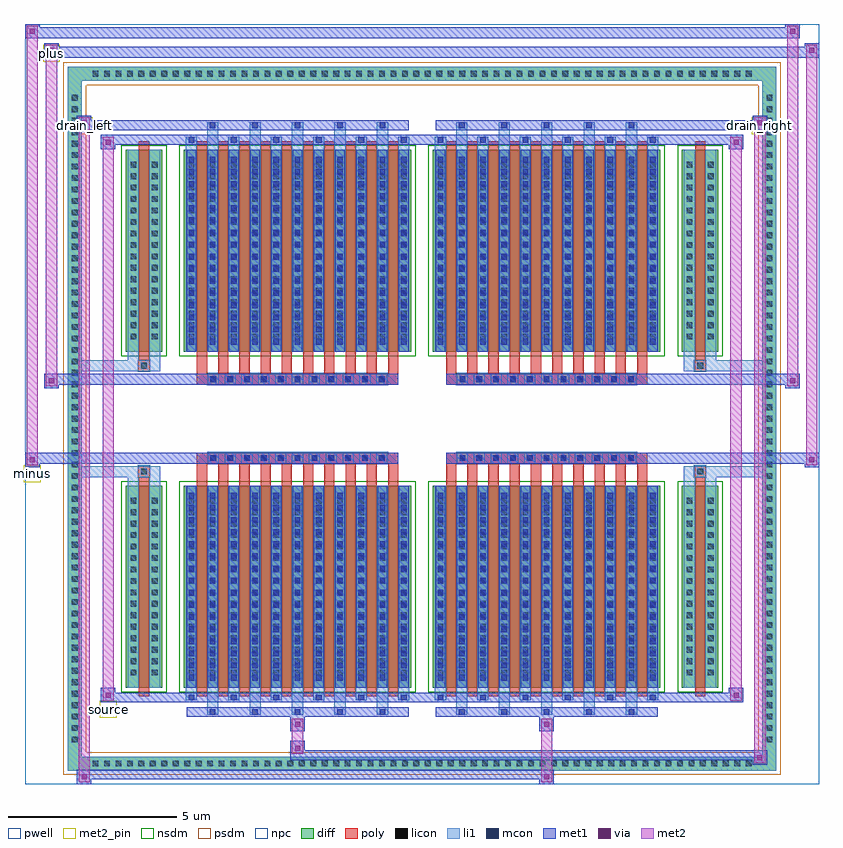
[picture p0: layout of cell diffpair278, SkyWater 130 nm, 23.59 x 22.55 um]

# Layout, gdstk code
import gdstk
lib = gdstk.Library(unit=1e-6, precision=5e-09)
def R(c, l, rs):  # rectangles x0, y0, x1, y1
    for r in rs: c.add(gdstk.rectangle(r[:2], r[2:], *l))
def A(c, l, x, y, w, h, nx, ny, dx, dy):  # array of equal rectangles
    R(c, l, [(x+i*dx, y+j*dy, x+i*dx+w, y+j*dy+h) for i in range(nx) for j in range(ny)])
def P(c, l, *ps):  # polygons
    for p in ps: c.add(gdstk.Polygon(p, *l))
pwell = (64, 44)
diff = (65, 20)
poly = (66, 20)
licon = (66, 44)
li1 = (67, 20)
mcon = (67, 44)
met1 = (68, 20)
via = (68, 44)
met2_pin = (69, 16)
met2 = (69, 20)
nsdm = (93, 44)
psdm = (94, 20)
npc = (95, 20)

diffpair278 = lib.new_cell('diffpair278')
R(diffpair278, pwell, [(-11.78,-10.84,11.78,11.71), (-9.1,-9.03,-0.01,-0.805), (0.01,-9.03,9.1,-0.805), (-9.1,0.805,-0.01,9.03), (0.01,0.805,9.1,9.03)])
A(diffpair278, diff, -9.895, -10.44, 0.41, 0.41, 58, 2, 0.34, 20.47)
A(diffpair278, diff, -10.51, -9.725, 0.41, 0.41, 1, 57, 0, 0.34)
A(diffpair278, diff, 10.1, -9.725, 0.41, 0.41, 1, 57, 0, 0.34)
R(diffpair278, diff, [(-9.895,-10.44,9.895,-10.03), (-10.51,-9.725,-10.1,9.725), (10.1,-9.725,10.51,9.725), (-8.79,-7.985,-7.71,-1.985), (-7.07,-7.985,-0.32,-1.985), (0.32,-7.985,7.07,-1.985), (7.71,-7.985,8.79,-1.985), (-8.79,1.985,-7.71,7.985), (-7.07,1.985,-0.32,7.985), (0.32,1.985,7.07,7.985), (7.71,1.985,8.79,7.985), (-9.895,10.03,9.895,10.44)])
P(diffpair278, diff, [(10.51,10.44),(-10.51,10.44),(-10.51,-10.03),(-10.1,-10.03),(-10.1,10.03),(10.1,10.03),(10.1,-10.03),(-10.1,-10.03),(-10.51,-10.03),(-10.51,-10.44),(10.51,-10.44)])
A(diffpair278, poly, -6.68, -8.235, 0.3, 6.5, 10, 2, 0.63, 9.97)
A(diffpair278, poly, 0.71, -8.235, 0.3, 6.5, 10, 2, 0.63, 9.97)
A(diffpair278, poly, -6.68, -1.735, 0.3, 0.4, 10, 2, 0.63, 3.07)
A(diffpair278, poly, 0.71, -1.735, 0.3, 0.4, 10, 2, 0.63, 3.07)
A(diffpair278, poly, -6.36, -1.335, 0.33, 0.33, 11, 2, 0.5, 2.34)
A(diffpair278, poly, 1.03, -1.335, 0.33, 0.33, 11, 2, 0.5, 2.34)
R(diffpair278, poly, [(-8.4,-8.235,-8.1,-1.735), (8.1,-8.235,8.4,-1.735), (-8.415,-1.735,-8.085,-1.405), (-8.415,-1.735,-8.085,-1.405), (8.085,-1.735,8.415,-1.405), (8.085,-1.735,8.415,-1.405), (-6.68,-1.335,-0.71,-1.005), (0.71,-1.335,6.68,-1.005), (-6.68,1.005,-0.71,1.335), (0.71,1.005,6.68,1.335), (-8.415,1.405,-8.085,1.735), (-8.415,1.405,-8.085,1.735), (8.085,1.405,8.415,1.735), (8.085,1.405,8.415,1.735), (-8.4,1.735,-8.1,8.235), (8.1,1.735,8.4,8.235)])
A(diffpair278, licon, -9.775, -10.32, 0.17, 0.17, 58, 2, 0.34, 20.47)
A(diffpair278, licon, -10.39, -9.605, 0.17, 0.17, 1, 57, 0, 0.34)
A(diffpair278, licon, 10.22, -9.605, 0.17, 0.17, 1, 57, 0, 0.34)
A(diffpair278, licon, -8.65, -7.62, 0.17, 0.17, 1, 16, 0, 0.34)
A(diffpair278, licon, -8.02, -7.62, 0.17, 0.17, 1, 16, 0, 0.34)
A(diffpair278, licon, -6.93, -7.62, 0.17, 0.17, 11, 16, 0.63, 0.34)
A(diffpair278, licon, 0.46, -7.62, 0.17, 0.17, 11, 16, 0.63, 0.34)
A(diffpair278, licon, 7.85, -7.62, 0.17, 0.17, 1, 16, 0, 0.34)
A(diffpair278, licon, 8.48, -7.62, 0.17, 0.17, 1, 16, 0, 0.34)
A(diffpair278, licon, -6.28, -1.255, 0.17, 0.17, 11, 2, 0.5, 2.34)
A(diffpair278, licon, 1.11, -1.255, 0.17, 0.17, 11, 2, 0.5, 2.34)
A(diffpair278, licon, -8.65, 2.35, 0.17, 0.17, 1, 16, 0, 0.34)
A(diffpair278, licon, -8.02, 2.35, 0.17, 0.17, 1, 16, 0, 0.34)
A(diffpair278, licon, -6.93, 2.35, 0.17, 0.17, 11, 16, 0.63, 0.34)
A(diffpair278, licon, 0.46, 2.35, 0.17, 0.17, 11, 16, 0.63, 0.34)
A(diffpair278, licon, 7.85, 2.35, 0.17, 0.17, 1, 16, 0, 0.34)
A(diffpair278, licon, 8.48, 2.35, 0.17, 0.17, 1, 16, 0, 0.34)
R(diffpair278, licon, [(-8.335,-1.655,-8.165,-1.485), (8.165,-1.655,8.335,-1.485), (-8.335,1.485,-8.165,1.655), (8.165,1.485,8.335,1.655)])
A(diffpair278, li1, -9.855, -10.4, 0.33, 0.33, 58, 2, 0.34, 20.47)
A(diffpair278, li1, -10.47, -9.685, 0.33, 0.33, 1, 57, 0, 0.34)
A(diffpair278, li1, 10.14, -9.685, 0.33, 0.33, 1, 57, 0, 0.34)
A(diffpair278, li1, -6.38, -8.79, 0.33, 0.805, 5, 2, 1.26, 16.775)
A(diffpair278, li1, -6.3, -8.79, 0.17, 0.17, 5, 2, 1.26, 17.41)
A(diffpair278, li1, 1.01, -8.79, 0.33, 0.805, 5, 2, 1.26, 16.775)
A(diffpair278, li1, 1.09, -8.79, 0.17, 0.17, 5, 2, 1.26, 17.41)
A(diffpair278, li1, -7.01, -8.36, 0.33, 0.375, 6, 2, 1.26, 16.345)
A(diffpair278, li1, -6.93, -8.36, 0.17, 0.17, 6, 2, 1.26, 16.55)
A(diffpair278, li1, 0.38, -8.36, 0.33, 0.375, 6, 2, 1.26, 16.345)
A(diffpair278, li1, 0.46, -8.36, 0.17, 0.17, 6, 2, 1.26, 16.55)
A(diffpair278, li1, -7.01, -7.985, 0.33, 6, 11, 2, 0.63, 9.97)
A(diffpair278, li1, 0.38, -7.985, 0.33, 6, 11, 2, 0.63, 9.97)
A(diffpair278, li1, -6.93, -7.77, 0.17, 0.17, 11, 16, 0.63, 0.36)
A(diffpair278, li1, -6.93, -7.77, 0.17, 5.57, 11, 2, 0.63, 9.97)
A(diffpair278, li1, 0.46, -7.77, 0.17, 0.17, 11, 16, 0.63, 0.36)
A(diffpair278, li1, 0.46, -7.77, 0.17, 5.57, 11, 2, 0.63, 9.97)
A(diffpair278, li1, -8.73, -7.7, 0.33, 0.33, 1, 16, 0, 0.34)
A(diffpair278, li1, -8.1, -7.7, 0.33, 0.33, 1, 16, 0, 0.34)
A(diffpair278, li1, -7.01, -7.7, 0.33, 0.33, 11, 16, 0.63, 0.34)
A(diffpair278, li1, 0.38, -7.7, 0.33, 0.33, 11, 16, 0.63, 0.34)
A(diffpair278, li1, 7.77, -7.7, 0.33, 0.33, 1, 16, 0, 0.34)
A(diffpair278, li1, 8.4, -7.7, 0.33, 0.33, 1, 16, 0, 0.34)
A(diffpair278, li1, -6.36, -1.335, 0.33, 0.33, 11, 2, 0.5, 2.34)
A(diffpair278, li1, 1.03, -1.335, 0.33, 0.33, 11, 2, 0.5, 2.34)
A(diffpair278, li1, -6.93, 2.2, 0.17, 0.17, 11, 16, 0.63, 0.36)
A(diffpair278, li1, 0.46, 2.2, 0.17, 0.17, 11, 16, 0.63, 0.36)
A(diffpair278, li1, -8.73, 2.27, 0.33, 0.33, 1, 16, 0, 0.34)
A(diffpair278, li1, -8.1, 2.27, 0.33, 0.33, 1, 16, 0, 0.34)
A(diffpair278, li1, -7.01, 2.27, 0.33, 0.33, 11, 16, 0.63, 0.34)
A(diffpair278, li1, 0.38, 2.27, 0.33, 0.33, 11, 16, 0.63, 0.34)
A(diffpair278, li1, 7.77, 2.27, 0.33, 0.33, 1, 16, 0, 0.34)
A(diffpair278, li1, 8.4, 2.27, 0.33, 0.33, 1, 16, 0, 0.34)
R(diffpair278, li1, [(-10.51,-10.44,-10.1,-10.03), (-10.51,-10.44,-10.1,-10.03), (-10.1,-10.44,10.1,-10.03), (10.1,-10.44,10.51,-10.03), (10.1,-10.44,10.51,-10.03), (-10.51,-10.03,-10.1,10.03), (10.1,-10.03,10.51,10.03), (-8.73,-7.985,-8.4,-1.985), (-8.1,-7.985,-7.77,-1.985), (7.77,-7.985,8.1,-1.985), (8.4,-7.985,8.73,-1.985), (-8.73,-1.985,-8.4,-1.405), (-8.1,-1.985,-7.77,-1.405), (7.77,-1.985,8.1,-1.405), (8.4,-1.985,8.73,-1.405), (-10.51,-1.735,-8.415,-1.405), (-8.73,-1.735,-8.415,-1.405), (-8.415,-1.735,-8.085,-1.405), (-8.085,-1.735,-7.77,-1.405), (7.77,-1.735,8.085,-1.405), (8.085,-1.735,8.415,-1.405), (8.085,-1.735,10.51,-1.405), (8.415,-1.735,8.73,-1.405), (-10.51,1.405,-8.415,1.735), (-8.73,1.405,-8.415,1.735), (-8.73,1.405,-8.4,1.985), (-8.415,1.405,-8.085,1.735), (-8.1,1.405,-7.77,1.985), (-8.085,1.405,-7.77,1.735), (7.77,1.405,8.085,1.735), (7.77,1.405,8.1,1.985), (8.085,1.405,8.415,1.735), (8.085,1.405,10.51,1.735), (8.4,1.405,8.73,1.985), (8.415,1.405,8.73,1.735), (-8.73,1.985,-8.4,7.985), (-8.1,1.985,-7.77,7.985), (7.77,1.985,8.1,7.985), (8.4,1.985,8.73,7.985), (-10.51,10.03,-10.1,10.44), (-10.51,10.03,-10.1,10.44), (-10.1,10.03,10.1,10.44), (10.1,10.03,10.51,10.44), (10.1,10.03,10.51,10.44)])
A(diffpair278, mcon, -6.3, -8.79, 0.17, 0.17, 5, 2, 1.26, 17.41)
A(diffpair278, mcon, 1.09, -8.79, 0.17, 0.17, 5, 2, 1.26, 17.41)
A(diffpair278, mcon, -6.93, -8.36, 0.17, 0.17, 6, 2, 1.26, 16.55)
A(diffpair278, mcon, 0.46, -8.36, 0.17, 0.17, 6, 2, 1.26, 16.55)
A(diffpair278, mcon, -6.93, -7.77, 0.17, 0.17, 11, 16, 0.63, 0.36)
A(diffpair278, mcon, 0.46, -7.77, 0.17, 0.17, 11, 16, 0.63, 0.36)
A(diffpair278, mcon, -6.28, -1.255, 0.17, 0.17, 11, 2, 0.5, 2.34)
A(diffpair278, mcon, 1.11, -1.255, 0.17, 0.17, 11, 2, 0.5, 2.34)
A(diffpair278, mcon, -6.93, 2.2, 0.17, 0.17, 11, 16, 0.63, 0.36)
A(diffpair278, mcon, 0.46, 2.2, 0.17, 0.17, 11, 16, 0.63, 0.36)
A(diffpair278, met1, -6.36, -8.85, 0.29, 0.29, 5, 2, 1.26, 17.41)
A(diffpair278, met1, 1.03, -8.85, 0.29, 0.29, 5, 2, 1.26, 17.41)
A(diffpair278, met1, -6.99, -8.42, 0.29, 0.29, 6, 2, 1.26, 16.55)
A(diffpair278, met1, 0.4, -8.42, 0.29, 0.29, 6, 2, 1.26, 16.55)
A(diffpair278, met1, -6.99, -7.985, 0.29, 6, 11, 2, 0.63, 9.97)
A(diffpair278, met1, 0.4, -7.985, 0.29, 6, 11, 2, 0.63, 9.97)
A(diffpair278, met1, -6.99, -7.83, 0.29, 0.29, 11, 16, 0.63, 0.36)
A(diffpair278, met1, 0.4, -7.83, 0.29, 0.29, 11, 16, 0.63, 0.36)
A(diffpair278, met1, -6.34, -1.315, 0.29, 0.29, 11, 2, 0.5, 2.34)
A(diffpair278, met1, 1.05, -1.315, 0.29, 0.29, 11, 2, 0.5, 2.34)
A(diffpair278, met1, -6.99, 2.14, 0.29, 0.29, 11, 16, 0.63, 0.36)
A(diffpair278, met1, 0.4, 2.14, 0.29, 0.29, 11, 16, 0.63, 0.36)
R(diffpair278, met1, [(-10.24,-10.84,-9.81,-10.41), (3.48,-10.84,3.91,-10.41), (-10.24,-10.7,3.91,-10.41), (9.81,-10.27,10.24,-9.84), (-3.91,-10.13,10.24,-9.84), (-3.91,-9.99,-3.48,-9.56), (-3.91,-9.28,-3.48,-8.85), (3.48,-9.28,3.91,-8.85), (-6.99,-8.85,-0.4,-8.56), (0.4,-8.85,6.99,-8.56), (-9.53,-8.42,-9.1,-7.99), (-9.53,-8.42,-6.99,-8.13), (-6.99,-8.42,-0.4,-8.13), (-0.4,-8.42,0.4,-8.13), (0.4,-8.42,6.99,-8.13), (6.99,-8.42,9.53,-8.13), (9.1,-8.42,9.53,-7.99), (-11.78,-1.435,-11.35,-1.005), (11.35,-1.435,11.78,-1.005), (-11.78,-1.335,-0.71,-1.005), (-6.68,-1.335,-0.71,-1.005), (0.71,-1.335,6.68,-1.005), (0.71,-1.335,11.78,-1.005), (-11.21,0.905,-10.78,1.335), (10.78,0.905,11.21,1.335), (-11.21,1.005,-6.68,1.335), (-6.68,1.005,-0.71,1.335), (0.71,1.005,6.68,1.335), (6.68,1.005,11.21,1.335), (-9.53,7.99,-9.1,8.42), (9.1,7.99,9.53,8.42), (-9.53,8.13,-6.99,8.42), (-6.99,8.13,-0.4,8.42), (-0.4,8.13,0.4,8.42), (0.4,8.13,6.99,8.42), (6.99,8.13,9.53,8.42), (-10.24,8.56,-9.81,8.99), (-10.24,8.56,-6.99,8.85), (-6.99,8.56,-0.4,8.85), (0.4,8.56,6.99,8.85), (6.99,8.56,10.24,8.85), (9.81,8.56,10.24,8.99), (-11.21,10.71,-10.78,11.14), (-11.21,10.71,-9.1,11.04), (-9.1,10.71,9.1,11.04), (9.1,10.71,11.78,11.04), (11.35,10.71,11.78,11.14), (-11.78,11.28,-11.35,11.71), (-11.78,11.28,-9.1,11.61), (-9.1,11.28,9.1,11.61), (9.1,11.28,11.21,11.61), (10.78,11.28,11.21,11.71)])
R(diffpair278, via, [(-10.1,-10.7,-9.95,-10.55), (3.62,-10.7,3.77,-10.55), (9.95,-10.13,10.1,-9.98), (-3.77,-9.85,-3.62,-9.7), (-3.77,-9.14,-3.62,-8.99), (3.62,-9.14,3.77,-8.99), (-9.39,-8.28,-9.24,-8.13), (9.24,-8.28,9.39,-8.13), (-11.64,-1.295,-11.49,-1.145), (11.49,-1.295,11.64,-1.145), (-11.07,1.045,-10.92,1.195), (10.92,1.045,11.07,1.195), (-9.39,8.13,-9.24,8.28), (9.24,8.13,9.39,8.28), (-10.1,8.7,-9.95,8.85), (9.95,8.7,10.1,8.85), (-11.07,10.85,-10.92,11), (11.49,10.85,11.64,11), (-11.64,11.42,-11.49,11.57), (10.92,11.42,11.07,11.57)])
R(diffpair278, met2_pin, [(-9.565,-8.87,-9.065,-8.37), (-11.815,-1.885,-11.315,-1.385), (-10.275,8.44,-9.775,8.94), (9.775,8.44,10.275,8.94), (-11.245,10.59,-10.745,11.09)])
R(diffpair278, met2, [(-10.19,-10.79,-9.86,-10.46), (-10.19,-10.79,-9.86,8.94), (3.53,-10.79,3.86,-10.46), (3.53,-10.46,3.86,-9.23), (9.86,-10.22,10.19,-9.89), (9.86,-10.22,10.19,8.94), (-3.86,-9.94,-3.53,-9.61), (-3.86,-9.61,-3.53,-9.23), (-3.86,-9.23,-3.53,-8.9), (3.53,-9.23,3.86,-8.9), (-9.48,-8.37,-9.15,-8.04), (-9.48,-8.37,-9.15,8.37), (9.15,-8.37,9.48,-8.04), (9.15,-8.37,9.48,8.37), (-11.73,-1.385,-11.4,-1.055), (-11.73,-1.385,-11.4,11.66), (11.4,-1.385,11.73,-1.055), (11.4,-1.385,11.73,11.09), (-11.16,0.955,-10.83,1.285), (-11.16,0.955,-10.83,11.09), (10.83,0.955,11.16,1.285), (10.83,0.955,11.16,11.66), (-9.48,8.04,-9.15,8.37), (9.15,8.04,9.48,8.37), (-10.19,8.61,-9.86,8.94), (9.86,8.61,10.19,8.94), (-11.16,10.76,-10.83,11.09), (11.4,10.76,11.73,11.09), (-11.73,11.33,-11.4,11.66), (10.83,11.33,11.16,11.66)])
P(diffpair278, met2, [(11.73,-1.385),(11.73,-1.385),(11.73,-1.055),(11.73,-1.055)],
  [(11.73,10.76),(11.73,10.76),(11.73,11.09),(11.73,11.09)],
  [(-11.4,-1.385),(-11.4,-1.385),(-11.4,-1.055),(-11.4,-1.055)],
  [(-11.4,11.33),(-11.4,11.33),(-11.4,11.66),(-11.4,11.66)],
  [(11.16,0.955),(11.16,0.955),(11.16,1.285),(11.16,1.285)],
  [(11.16,11.33),(11.16,11.33),(11.16,11.66),(11.16,11.66)],
  [(-10.83,0.955),(-10.83,0.955),(-10.83,1.285),(-10.83,1.285)],
  [(-10.83,10.76),(-10.83,10.76),(-10.83,11.09),(-10.83,11.09)],
  [(-9.86,-10.79),(-9.86,-10.79),(-9.86,-10.46),(-9.86,-10.46)],
  [(-9.86,8.61),(-9.86,8.61),(-9.86,8.94),(-9.86,8.94)],
  [(10.19,-10.22),(10.19,-10.22),(10.19,-9.89),(10.19,-9.89)],
  [(10.19,8.61),(10.19,8.61),(10.19,8.94),(10.19,8.94)],
  [(-9.15,-8.37),(-9.15,-8.37),(-9.15,-8.04),(-9.15,-8.04)],
  [(-9.15,8.04),(-9.15,8.04),(-9.15,8.37),(-9.15,8.37)],
  [(9.48,-8.37),(9.48,-8.37),(9.48,-8.04),(9.48,-8.04)],
  [(9.48,8.04),(9.48,8.04),(9.48,8.37),(9.48,8.37)])
R(diffpair278, nsdm, [(-8.92,-8.115,-7.58,-1.855), (-7.2,-8.115,-0.19,-1.855), (0.19,-8.115,7.2,-1.855), (7.58,-8.115,8.92,-1.855), (-8.92,1.855,-7.58,8.115), (-7.2,1.855,-0.19,8.115), (0.19,1.855,7.2,8.115), (7.58,1.855,8.92,8.115)])
P(diffpair278, psdm, [(10.64,10.57),(-10.64,10.57),(-10.64,-9.9),(-9.97,-9.9),(-9.97,9.9),(9.97,9.9),(9.97,-9.9),(-9.97,-9.9),(-10.64,-9.9),(-10.64,-10.57),(10.64,-10.57)])
A(diffpair278, npc, -6.38, -1.355, 0.37, 0.37, 11, 2, 0.5, 2.34)
A(diffpair278, npc, 1.01, -1.355, 0.37, 0.37, 11, 2, 0.5, 2.34)
R(diffpair278, npc, [(-8.435,-1.755,-8.065,-1.385), (8.065,-1.755,8.435,-1.385), (-6.38,-1.355,-5.51,-0.985), (-6.38,-1.355,-5.51,-0.985), (-5.88,-1.355,-5.01,-0.985), (-5.88,-1.355,-5.01,-0.985), (-5.38,-1.355,-4.51,-0.985), (-5.38,-1.355,-4.51,-0.985), (-4.88,-1.355,-4.01,-0.985), (-4.88,-1.355,-4.01,-0.985), (-4.38,-1.355,-3.51,-0.985), (-4.38,-1.355,-3.51,-0.985), (-3.88,-1.355,-3.01,-0.985), (-3.88,-1.355,-3.01,-0.985), (-3.38,-1.355,-2.51,-0.985), (-3.38,-1.355,-2.51,-0.985), (-2.88,-1.355,-2.01,-0.985), (-2.88,-1.355,-2.01,-0.985), (-2.38,-1.355,-1.51,-0.985), (-2.38,-1.355,-1.51,-0.985), (-1.88,-1.355,-1.01,-0.985), (-1.88,-1.355,-1.01,-0.985), (1.01,-1.355,1.88,-0.985), (1.01,-1.355,1.88,-0.985), (1.51,-1.355,2.38,-0.985), (1.51,-1.355,2.38,-0.985), (2.01,-1.355,2.88,-0.985), (2.01,-1.355,2.88,-0.985), (2.51,-1.355,3.38,-0.985), (2.51,-1.355,3.38,-0.985), (3.01,-1.355,3.88,-0.985), (3.01,-1.355,3.88,-0.985), (3.51,-1.355,4.38,-0.985), (3.51,-1.355,4.38,-0.985), (4.01,-1.355,4.88,-0.985), (4.01,-1.355,4.88,-0.985), (4.51,-1.355,5.38,-0.985), (4.51,-1.355,5.38,-0.985), (5.01,-1.355,5.88,-0.985), (5.01,-1.355,5.88,-0.985), (5.51,-1.355,6.38,-0.985), (5.51,-1.355,6.38,-0.985), (-6.38,0.985,-5.51,1.355), (-6.38,0.985,-5.51,1.355), (-5.88,0.985,-5.01,1.355), (-5.88,0.985,-5.01,1.355), (-5.38,0.985,-4.51,1.355), (-5.38,0.985,-4.51,1.355), (-4.88,0.985,-4.01,1.355), (-4.88,0.985,-4.01,1.355), (-4.38,0.985,-3.51,1.355), (-4.38,0.985,-3.51,1.355), (-3.88,0.985,-3.01,1.355), (-3.88,0.985,-3.01,1.355), (-3.38,0.985,-2.51,1.355), (-3.38,0.985,-2.51,1.355), (-2.88,0.985,-2.01,1.355), (-2.88,0.985,-2.01,1.355), (-2.38,0.985,-1.51,1.355), (-2.38,0.985,-1.51,1.355), (-1.88,0.985,-1.01,1.355), (-1.88,0.985,-1.01,1.355), (1.01,0.985,1.88,1.355), (1.01,0.985,1.88,1.355), (1.51,0.985,2.38,1.355), (1.51,0.985,2.38,1.355), (2.01,0.985,2.88,1.355), (2.01,0.985,2.88,1.355), (2.51,0.985,3.38,1.355), (2.51,0.985,3.38,1.355), (3.01,0.985,3.88,1.355), (3.01,0.985,3.88,1.355), (3.51,0.985,4.38,1.355), (3.51,0.985,4.38,1.355), (4.01,0.985,4.88,1.355), (4.01,0.985,4.88,1.355), (4.51,0.985,5.38,1.355), (4.51,0.985,5.38,1.355), (5.01,0.985,5.88,1.355), (5.01,0.985,5.88,1.355), (5.51,0.985,6.38,1.355), (5.51,0.985,6.38,1.355), (-8.435,1.385,-8.065,1.755), (8.065,1.385,8.435,1.755)])
diffpair278.add(gdstk.Label('minus', (-11.565,-1.635), layer=69, texttype=5))
diffpair278.add(gdstk.Label('drain_right', (10.025,8.69), layer=69, texttype=5))
diffpair278.add(gdstk.Label('drain_left', (-10.025,8.69), layer=69, texttype=5))
diffpair278.add(gdstk.Label('source', (-9.315,-8.62), layer=69, texttype=5))
diffpair278.add(gdstk.Label('plus', (-10.995,10.84), layer=69, texttype=5))

lib.write_gds('diffpair278.gds')
